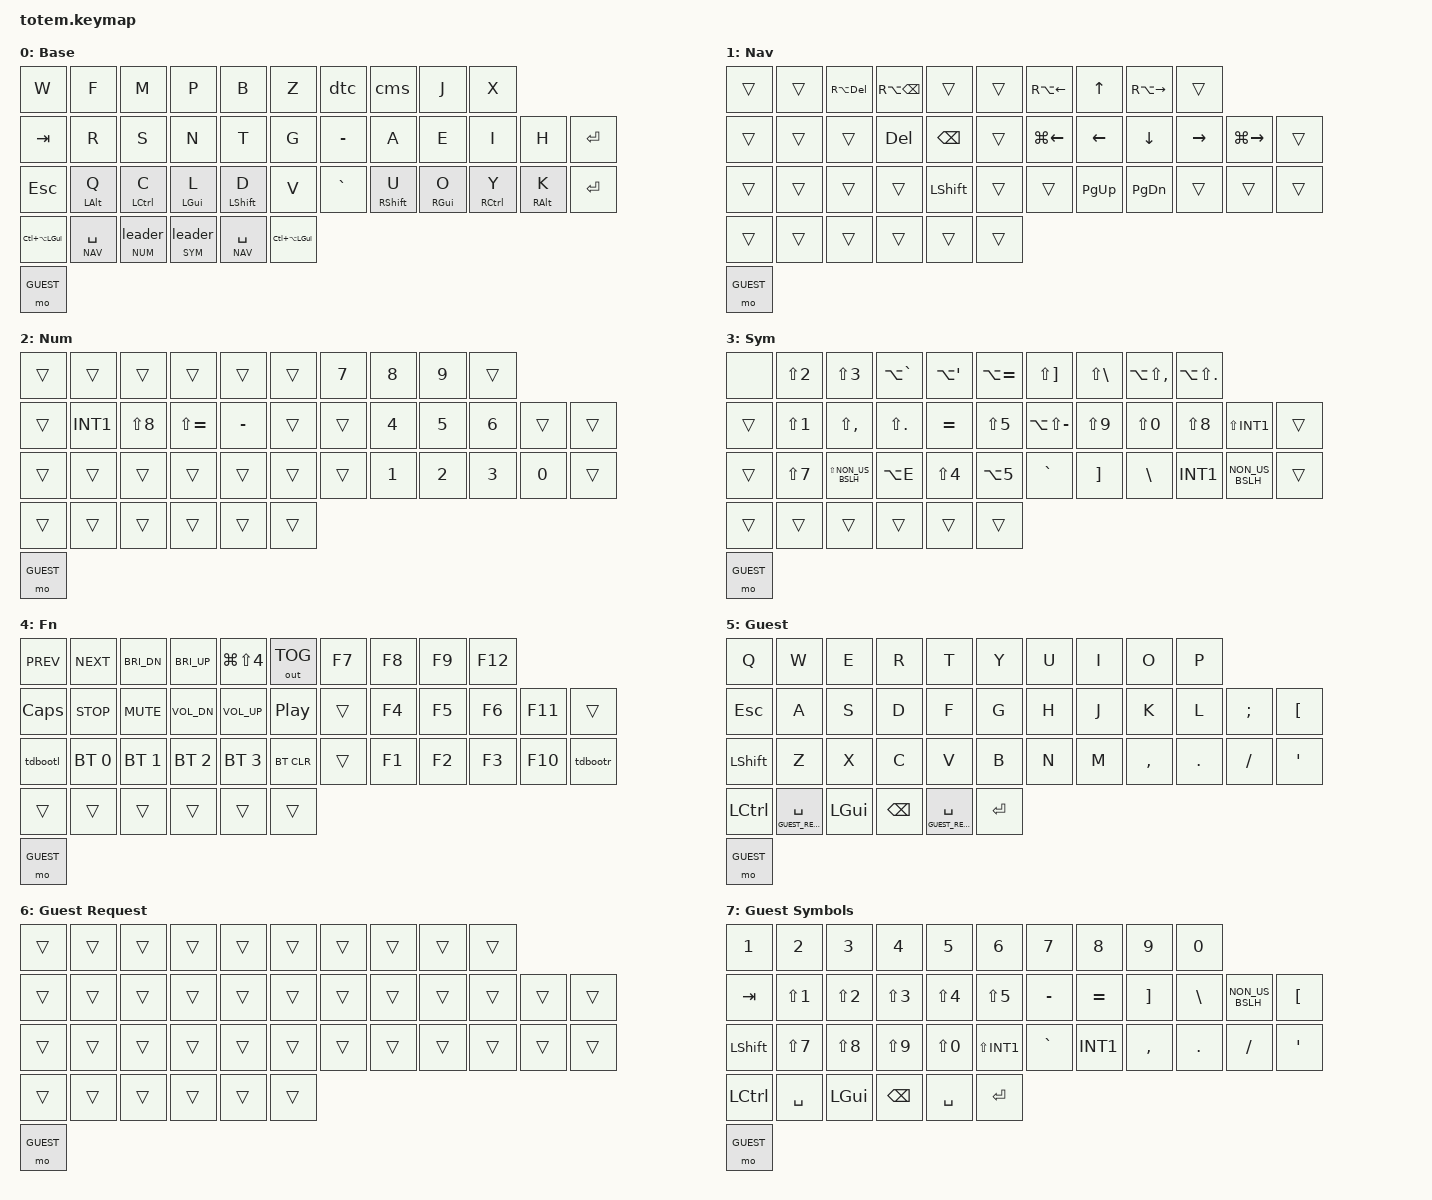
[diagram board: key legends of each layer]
/*
 * TOTEM Plus 1 -- 40 keys, dongleless split.
 *
 * Port of ~/.conf/.config/kanata/kanata.kbd
 * Host layout assumed: macOS with the Brazilian ABNT2 keyboard layout.
 * Every keycode below is the US-position HID code that ABNT2 remaps, exactly
 * like kanata does it (e.g. SEMI -> c-cedilla, SQT -> dead tilde, LBKT -> dead acute).
 *
 * PHYSICAL POSITION NUMBERS (used by combos and the bilateral mods)
 *
 *          0   1   2   3   4        5   6   7   8   9
 *     10  11  12  13  14  15       16  17  18  19  20  21
 *     22  23  24  25  26  27       28  29  30  31  32  33
 *                 34  35  36       37  38  39
 */

#include <behaviors.dtsi>
#include <dt-bindings/zmk/keys.h>
#include <dt-bindings/zmk/bt.h>
#include <dt-bindings/zmk/outputs.h>

#define BASE 0
#define NAV  1
#define NUM  2
#define SYM  3
#define FN   4
#define GUEST 5
#define GUEST_REQUEST 6
#define GUEST_SYMBOLS 7

/* Hand assignment -- the ZMK equivalent of kanata's (defhands ...).
 * A bottom-row mod only commits to "hold" if the key it would modify is on
 * the other hand, so same-hand rolls can never misfire.  Thumbs count as
 * "either hand" so mod + thumb still works. */
#define KEYS_L  0  1  2  3  4 10 11 12 13 14 15 22 23 24 25 26 27
#define KEYS_R  5  6  7  8  9 16 17 18 19 20 21 28 29 30 31 32 33
#define THUMBS 34 35 36 37 38 39

/* kanata: (tap-hold $tt $ht spc (layer-while-held navigation))
 * balanced + require-prior-idle is the ZMK idiom: inside a typing burst the
 * thumb is always a plain space; after a short pause, holding it is the layer. */
&lt {
    flavor = "balanced";
    tapping-term-ms = <200>;
    quick-tap-ms = <175>;
    require-prior-idle-ms = <125>;
};

/ {
    behaviors {
        guest_space: guest_space_hold_tap {
            compatible = "zmk,behavior-hold-tap";
            #binding-cells = <2>;
            flavor = "hold-preferred";
            tapping-term-ms = <200>;
            quick-tap-ms = <0>;
            require-prior-idle-ms = <0>;
            bindings = <&mo>, <&kp>;
        };

        /* Dedicated Numbers/Symbols policy; leave Space/Nav's &lt alone.
         * Another key press or 200 ms selects the layer; short taps send
         * C-c SPC. No quick-tap or prior-idle shortcuts during typing. */
        leader_lt: leader_layer_tap {
            compatible = "zmk,behavior-hold-tap";
            #binding-cells = <2>;
            flavor = "hold-preferred";
            tapping-term-ms = <200>;
            quick-tap-ms = <0>;
            require-prior-idle-ms = <0>;
            bindings = <&mo>, <&leader>;
        };

        /* kanata: (tap-hold-opposite-hand-release $ht <tap> <mod>
         *          (same-hand tap) (timeout hold) (require-prior-idle 0)) */
        hml: hold_mod_left {
            compatible = "zmk,behavior-hold-tap";
            #binding-cells = <2>;
            flavor = "balanced";
            tapping-term-ms = <200>;          /* $ht / $pink_ht */
            quick-tap-ms = <175>;
            hold-trigger-key-positions = <KEYS_R THUMBS>;
            hold-trigger-on-release;
            bindings = <&kp>, <&kp>;
        };

        hmr: hold_mod_right {
            compatible = "zmk,behavior-hold-tap";
            #binding-cells = <2>;
            flavor = "balanced";
            tapping-term-ms = <200>;
            quick-tap-ms = <175>;
            hold-trigger-key-positions = <KEYS_L THUMBS>;
            hold-trigger-on-release;
            bindings = <&kp>, <&kp>;
        };

        /* The two index fingers carry Shift and get the longer $index_ht. */
        hmli: hold_mod_left_index {
            compatible = "zmk,behavior-hold-tap";
            #binding-cells = <2>;
            flavor = "balanced";
            tapping-term-ms = <250>;          /* $index_ht */
            quick-tap-ms = <175>;
            hold-trigger-key-positions = <KEYS_R THUMBS>;
            hold-trigger-on-release;
            bindings = <&kp>, <&kp>;
        };

        hmri: hold_mod_right_index {
            compatible = "zmk,behavior-hold-tap";
            #binding-cells = <2>;
            flavor = "balanced";
            tapping-term-ms = <250>;
            quick-tap-ms = <175>;
            hold-trigger-key-positions = <KEYS_L THUMBS>;
            hold-trigger-on-release;
            bindings = <&kp>, <&kp>;
        };

        /* Double-tap the bottom outer key of a half -> that half's bootloader.
         * Tap-dance forwards the event source, so on the right half this
         * reaches the peripheral; a combo cannot, because combos always run on
         * the central. A single tap keeps each key's normal legend. */
        tdbootl: tapdance_bootloader_left {
            compatible = "zmk,behavior-tap-dance";
            #binding-cells = <0>;
            tapping-term-ms = <300>;
            bindings = <&kp CAPS>, <&bootloader>;
        };

        tdbootr: tapdance_bootloader_right {
            compatible = "zmk,behavior-tap-dance";
            #binding-cells = <0>;
            tapping-term-ms = <300>;
            bindings = <&kp RET>, <&bootloader>;
        };

        /* kanata (defoverrides): Shift+, -> ;   and   Shift+. -> :
         * On ABNT2 the bare US-slash keycode is ";" and Shift+slash is ":".
         * mod-morph masks the physical Shift, so the bare code really is bare. */
        cms: comma_semicolon {
            compatible = "zmk,behavior-mod-morph";
            #binding-cells = <0>;
            bindings = <&kp COMMA>, <&kp SLASH>;
            mods = <(MOD_LSFT|MOD_RSFT)>;
        };

        dtc: dot_colon {
            compatible = "zmk,behavior-mod-morph";
            #binding-cells = <0>;
            bindings = <&kp DOT>, <&kp LS(SLASH)>;
            mods = <(MOD_LSFT|MOD_RSFT)>;
        };
    };

    macros {
        /* Portable leader: release Control before ordinary Space.
         * Outside Emacs, C-c can interrupt a shell process. */
        leader: leader_sequence {
            compatible = "zmk,behavior-macro";
            #binding-cells = <0>;
            wait-ms = <10>;
            tap-ms = <10>;
            bindings = <&macro_press &kp LCTRL>,
                       <&macro_tap &kp C>,
                       <&macro_release &kp LCTRL>,
                       <&macro_tap &kp SPACE>;
        };

        /* kanata: (x c v) (macro @diaccedil 10 @diactilde) -- the "cao" chord. */
        ctil: cedilla_then_tilde {
            compatible = "zmk,behavior-macro";
            #binding-cells = <0>;
            wait-ms = <10>;
            tap-ms = <10>;
            bindings = <&kp SEMI &kp SQT>;
        };
    };

    /* kanata: @sft (numbers) + @sym (symbols) held together -> the Fn layer. */
    conditional_layers {
        compatible = "zmk,conditional-layers";

        guest_symbols {
            if-layers = <GUEST GUEST_REQUEST>;
            then-layer = <GUEST_SYMBOLS>;
        };

        tri_fn {
            if-layers = <NUM SYM>;
            then-layer = <FN>;
        };
    };

    /* kanata (defchordsv2 ...), $chto = 50 ms.
     * Restricted to the base layer so they cannot fire over numbers/symbols. */
    combos {
        compatible = "zmk,combos";

        /* --- top row: dead accents --- */
        combo_acute  { key-positions = <2 3>;      bindings = <&kp LBKT>;     timeout-ms = <50>; layers = <BASE>; };
        combo_circ   { key-positions = <1 2>;      bindings = <&kp LS(SQT)>;  timeout-ms = <50>; layers = <BASE>; };
        combo_grave  { key-positions = <1 2 3>;    bindings = <&kp LS(LBKT)>; timeout-ms = <50>; layers = <BASE>; };

        /* --- bottom row: dead accents (these sit on top of the mods) --- */
        combo_diaer  { key-positions = <23 24>;    bindings = <&kp LS(N6)>;   timeout-ms = <50>; layers = <BASE>; };
        combo_cedil  { key-positions = <24 25>;    bindings = <&kp SEMI>;     timeout-ms = <50>; layers = <BASE>; };
        combo_tilde  { key-positions = <25 26>;    bindings = <&kp SQT>;      timeout-ms = <50>; layers = <BASE>; };
        combo_ctil   { key-positions = <24 25 26>; bindings = <&ctil>;        timeout-ms = <50>; layers = <BASE>; };

        /* --- tab / enter --- */
        combo_tab    { key-positions = <0 1>;      bindings = <&kp TAB>;      timeout-ms = <50>; layers = <BASE>; };
        combo_ret    { key-positions = <7 8>;      bindings = <&kp RET>;      timeout-ms = <50>; layers = <BASE>; };
    };

    keymap {
        compatible = "zmk,keymap";

        base_layer {
            display-name = "Base";
            bindings = <
          &kp W  &kp F  &kp M  &kp P  &kp B  &kp Z  &dtc  &cms  &kp J  &kp X
   &kp TAB  &kp R  &kp S  &kp N  &kp T  &kp G  &kp MINUS  &kp A  &kp E  &kp I  &kp H  &kp RET
   &kp ESC  &hml LALT Q  &hml LCTRL C  &hml LGUI L  &hmli LSHFT D  &kp V  &kp GRAVE  &hmri RSHFT U  &hmr RGUI O  &hmr RCTRL Y  &hmr RALT K  &kp RET
                              &kp LC(LA(LGUI))  &lt NAV SPACE  &leader_lt NUM 0  &leader_lt SYM 0  &lt NAV SPACE  &kp LC(LA(LGUI))
                &mo GUEST
            >;
        };

        nav_layer {
            display-name = "Nav";
            bindings = <
          &trans  &trans  &kp RA(DEL)  &kp RA(BSPC)  &trans  &trans  &kp RA(LEFT)  &kp UP  &kp RA(RIGHT)  &trans
   &trans  &trans  &trans  &kp DEL  &kp BSPC  &trans  &kp LG(LEFT)  &kp LEFT  &kp DOWN  &kp RIGHT  &kp LG(RIGHT)  &trans
   &trans  &trans  &trans  &trans  &kp LSHFT  &trans  &trans  &kp PG_UP  &kp PG_DN  &trans  &trans  &trans
                              &trans  &trans  &trans  &trans  &trans  &trans
                &mo GUEST
            >;
        };

        num_layer {
            display-name = "Num";
            bindings = <
          &trans  &trans  &trans  &trans  &trans  &trans  &kp N7  &kp N8  &kp N9  &trans
   &trans  &kp INT1  &kp LS(N8)  &kp LS(EQUAL)  &kp MINUS  &trans  &trans  &kp N4  &kp N5  &kp N6  &trans  &trans
   &trans  &trans  &trans  &trans  &trans  &trans  &trans  &kp N1  &kp N2  &kp N3  &kp N0  &trans
                              &trans  &trans  &trans  &trans  &trans  &trans
                &mo GUEST
            >;
        };

        sym_layer {
            display-name = "Sym";
            bindings = <
          &none  &kp LS(N2)  &kp LS(N3)  &kp LA(GRAVE)  &kp LA(SQT)  &kp LA(EQUAL)  &kp LS(RBKT)  &kp LS(BSLH)  &kp LA(LS(COMMA))  &kp LA(LS(DOT))
   &trans  &kp LS(N1)  &kp LS(COMMA)  &kp LS(DOT)  &kp EQUAL  &kp LS(N5)  &kp LA(LS(MINUS))  &kp LS(N9)  &kp LS(N0)  &kp LS(N8)  &kp LS(INT1)  &trans
   &trans  &kp LS(N7)  &kp LS(NON_US_BSLH)  &kp LA(E)  &kp LS(N4)  &kp LA(N5)  &kp GRAVE  &kp RBKT  &kp BSLH  &kp INT1  &kp NON_US_BSLH  &trans
                              &trans  &trans  &trans  &trans  &trans  &trans
                &mo GUEST
            >;
        };

        fn_layer {
            display-name = "Fn";
            bindings = <
          &kp C_PREV  &kp C_NEXT  &kp C_BRI_DN  &kp C_BRI_UP  &kp LG(LS(N4))  &out OUT_TOG  &kp F7  &kp F8  &kp F9  &kp F12
   &kp CAPS  &kp C_STOP  &kp C_MUTE  &kp C_VOL_DN  &kp C_VOL_UP  &kp C_PP  &trans  &kp F4  &kp F5  &kp F6  &kp F11  &trans
   &tdbootl       &bt BT_SEL 0  &bt BT_SEL 1  &bt BT_SEL 2  &bt BT_SEL 3  &bt BT_CLR  &trans  &kp F1  &kp F2  &kp F3  &kp F10  &tdbootr
                              &trans  &trans  &trans  &trans  &trans  &trans
                &mo GUEST
            >;
        };
        guest_layer {
            display-name = "Guest";
            bindings = <
                &kp Q &kp W &kp E &kp R &kp T &kp Y &kp U &kp I &kp O &kp P
                &kp ESC &kp A &kp S &kp D &kp F &kp G &kp H &kp J &kp K &kp L &kp SEMI &kp LBKT
                &kp LSHFT &kp Z &kp X &kp C &kp V &kp B &kp N &kp M &kp COMMA &kp DOT &kp SLASH &kp SQT
                &kp LCTRL &guest_space GUEST_REQUEST SPACE &kp LGUI &kp BSPC &guest_space GUEST_REQUEST SPACE &kp RET
                &mo GUEST
            >;
        };
        guest_request_layer {
            display-name = "Guest Request";
            bindings = <
                &trans &trans &trans &trans &trans &trans &trans &trans &trans &trans
                &trans &trans &trans &trans &trans &trans &trans &trans &trans &trans &trans &trans
                &trans &trans &trans &trans &trans &trans &trans &trans &trans &trans &trans &trans
                &trans &trans &trans &trans &trans &trans
                &mo GUEST
            >;
        };
        guest_symbols_layer {
            display-name = "Guest Symbols";
            bindings = <
                &kp N1 &kp N2 &kp N3 &kp N4 &kp N5 &kp N6 &kp N7 &kp N8 &kp N9 &kp N0
                &kp TAB &kp LS(N1) &kp LS(N2) &kp LS(N3) &kp LS(N4) &kp LS(N5) &kp MINUS &kp EQUAL &kp RBKT &kp BSLH &kp NON_US_BSLH &kp LBKT
                &kp LSHFT &kp LS(N7) &kp LS(N8) &kp LS(N9) &kp LS(N0) &kp LS(INT1) &kp GRAVE &kp INT1 &kp COMMA &kp DOT &kp SLASH &kp SQT
                &kp LCTRL &kp SPACE &kp LGUI &kp BSPC &kp SPACE &kp RET
                &mo GUEST
            >;
        };
    };
};
